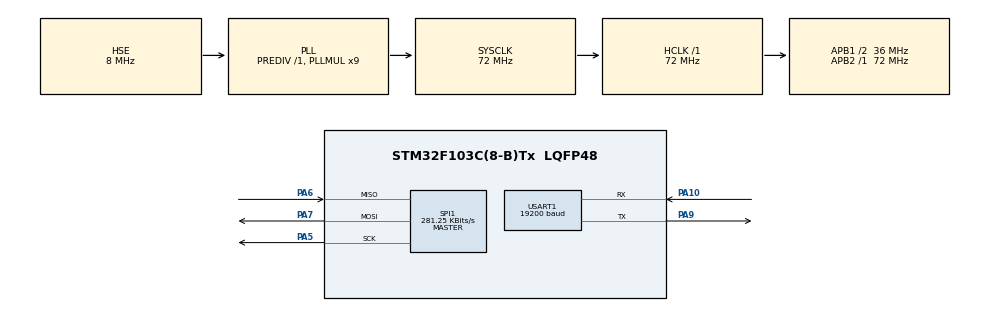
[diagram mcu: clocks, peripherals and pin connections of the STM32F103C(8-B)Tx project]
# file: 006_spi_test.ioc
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Dma.Request0=USART1_TX
Dma.Request1=USART1_RX
Dma.USART1_RX.1.Direction=DMA_PERIPH_TO_MEMORY
Dma.USART1_RX.1.Instance=DMA1_Channel5
Dma.USART1_RX.1.MemDataAlignment=DMA_MDATAALIGN_BYTE
Dma.USART1_RX.1.MemInc=DMA_MINC_ENABLE
Dma.USART1_RX.1.Mode=DMA_NORMAL
Dma.USART1_RX.1.PeriphDataAlignment=DMA_PDATAALIGN_BYTE
Dma.USART1_RX.1.PeriphInc=DMA_PINC_DISABLE
Dma.USART1_RX.1.Priority=DMA_PRIORITY_HIGH
Dma.USART1_TX.0.Direction=DMA_MEMORY_TO_PERIPH
Dma.USART1_TX.0.Instance=DMA1_Channel4
Dma.USART1_TX.0.MemDataAlignment=DMA_MDATAALIGN_BYTE
Dma.USART1_TX.0.MemInc=DMA_MINC_ENABLE
Dma.USART1_TX.0.Mode=DMA_NORMAL
Dma.USART1_TX.0.PeriphDataAlignment=DMA_PDATAALIGN_BYTE
Dma.USART1_TX.0.PeriphInc=DMA_PINC_DISABLE
Dma.USART1_TX.0.Priority=DMA_PRIORITY_VERY_HIGH
Mcu.Family=STM32F1
Mcu.Name=STM32F103C(8-B)Tx
Mcu.Package=LQFP48
NVIC.DMA1_Channel4_IRQn=true\:0\:0\:false\:false\:true\:false\:true\:true
NVIC.DMA1_Channel5_IRQn=true\:0\:0\:false\:false\:true\:false\:true\:true
NVIC.PriorityGroup=NVIC_PRIORITYGROUP_4
NVIC.USART1_IRQn=true\:0\:0\:false\:false\:true\:false\:true\:true
PA10.Mode=Asynchronous
PA10.Signal=USART1_RX
PA5.Mode=Full_Duplex_Master
PA5.Signal=SPI1_SCK
PA6.Mode=Full_Duplex_Master
PA6.Signal=SPI1_MISO
PA7.Mode=Full_Duplex_Master
PA7.Signal=SPI1_MOSI
PA9.Mode=Asynchronous
PA9.Signal=USART1_TX
PC14-OSC32_IN.Mode=LSE-External-Oscillator
PC14-OSC32_IN.Signal=RCC_OSC32_IN
PC15-OSC32_OUT.Mode=LSE-External-Oscillator
PC15-OSC32_OUT.Signal=RCC_OSC32_OUT
PD0-OSC_IN.Mode=HSE-External-Oscillator
PD0-OSC_IN.Signal=RCC_OSC_IN
PD1-OSC_OUT.Mode=HSE-External-Oscillator
PD1-OSC_OUT.Signal=RCC_OSC_OUT
ProjectManager.HeapSize=0x200
ProjectManager.StackSize=0x400
ProjectManager.TargetToolchain=Makefile
RCC.AHBFreq_Value=72000000
RCC.APB1CLKDivider=RCC_HCLK_DIV2
RCC.APB1Freq_Value=36000000
RCC.APB1TimFreq_Value=72000000
RCC.APB2Freq_Value=72000000
RCC.APB2TimFreq_Value=72000000
RCC.HCLKFreq_Value=72000000
RCC.PLLMUL=RCC_PLL_MUL9
RCC.PLLSourceVirtual=RCC_PLLSOURCE_HSE
RCC.SYSCLKFreq_VALUE=72000000
RCC.SYSCLKSource=RCC_SYSCLKSOURCE_PLLCLK
RCC.USBFreq_Value=72000000
SPI1.BaudRatePrescaler=SPI_BAUDRATEPRESCALER_256
SPI1.CalculateBaudRate=281.25 KBits/s
SPI1.Direction=SPI_DIRECTION_2LINES
SPI1.Mode=SPI_MODE_MASTER
SPI1.VirtualType=VM_MASTER
USART1.BaudRate=19200
USART1.VirtualMode=VM_ASYNC
VP_SYS_VS_ND.Mode=No_Debug
board=custom

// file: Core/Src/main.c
/* USER CODE BEGIN Header */
/**
 ******************************************************************************
 * @file           : main.c
 * @brief          : Main program body
 ******************************************************************************
 * @attention
 *
 * Copyright (c) 2024 STMicroelectronics.
 * All rights reserved.
 *
 * This software is licensed under terms that can be found in the LICENSE file
 * in the root directory of this software component.
 * If no LICENSE file comes with this software, it is provided AS-IS.
 *
 ******************************************************************************
 */
/* USER CODE END Header */
#include "main.h"
#include "cmsis_gcc.h"
#include "dma.h"
#include "gpio.h"
#include "spi.h"
#include "stm32f1xx_hal_dma.h"
#include "stm32f1xx_hal_spi.h"
#include "stm32f1xx_hal_uart.h"
#include "usart.h"
#include <stdint.h>

void SystemClock_Config(void);

/* USER CODE BEGIN 0 */
uint8_t dma_tx[64] = {0}, dma_rx[8] = {0}, spi_buffer[8];

/// max len of dma_tx is 64 bytes
void uprintf(char *format, ...) {
  __builtin_va_list args;
  __builtin_va_start(args, format);
  vsprintf((char *)dma_tx, format, args);
  __builtin_va_end(args);

  HAL_UART_Transmit(&huart1, dma_tx, strlen((char *)dma_tx), 1000);
}

void HAL_UART_RxCpltCallback(UART_HandleTypeDef *huart) {
  if (huart->Instance == USART1) {
    uprintf("Sent: %02x %02x %02x %02x %02x %02x %02x %02x\n", dma_rx[0],
            dma_rx[1], dma_rx[2], dma_rx[3], dma_rx[4], dma_rx[5], dma_rx[6],
            dma_rx[7]);

    memset(spi_buffer, 0, sizeof(spi_buffer));
    HAL_SPI_TransmitReceive(&hspi1, dma_rx, spi_buffer, 8, 1000);
    uprintf("Received: %02x %02x %02x %02x %02x %02x %02x %02x\r\n",
            spi_buffer[0], spi_buffer[1], spi_buffer[2], spi_buffer[3],
            spi_buffer[4], spi_buffer[5], spi_buffer[6], spi_buffer[7]);
  }

  HAL_UART_Receive_DMA(huart, dma_rx, sizeof(dma_rx));
}

/* USER CODE END 0 */

int main(void) {

  /* MCU Configuration--------------------------------------------------------*/

  /* Reset of all peripherals, Initializes the Flash interface and the Systick.
   */
  HAL_Init();

  /* Configure the system clock */
  SystemClock_Config();

  /* Initialize all configured peripherals */
  MX_GPIO_Init();
  MX_DMA_Init();
  MX_SPI1_Init();
  MX_USART1_UART_Init();
  /* USER CODE BEGIN 2 */

  uprintf("Hello World!\n");

  HAL_UART_Receive_DMA(&huart1, dma_rx, sizeof(dma_rx));

  /* USER CODE END 2 */

  /* Infinite loop */
  /* USER CODE BEGIN WHILE */
  while (1) {
    __WFI();
    /* USER CODE END WHILE */

  }
}

void SystemClock_Config(void) {
  RCC_OscInitTypeDef RCC_OscInitStruct = {0};
  RCC_ClkInitTypeDef RCC_ClkInitStruct = {0};

  /** Initializes the RCC Oscillators according to the specified parameters
   * in the RCC_OscInitTypeDef structure.
   */
  RCC_OscInitStruct.OscillatorType = RCC_OSCILLATORTYPE_HSE;
  RCC_OscInitStruct.HSEState = RCC_HSE_ON;
  RCC_OscInitStruct.HSEPredivValue = RCC_HSE_PREDIV_DIV1;
  RCC_OscInitStruct.HSIState = RCC_HSI_ON;
  RCC_OscInitStruct.PLL.PLLState = RCC_PLL_ON;
  RCC_OscInitStruct.PLL.PLLSource = RCC_PLLSOURCE_HSE;
  RCC_OscInitStruct.PLL.PLLMUL = RCC_PLL_MUL9;
  if (HAL_RCC_OscConfig(&RCC_OscInitStruct) != HAL_OK) {
    Error_Handler();
  }

  /** Initializes the CPU, AHB and APB buses clocks
   */
  RCC_ClkInitStruct.ClockType = RCC_CLOCKTYPE_HCLK | RCC_CLOCKTYPE_SYSCLK |
                                RCC_CLOCKTYPE_PCLK1 | RCC_CLOCKTYPE_PCLK2;
  RCC_ClkInitStruct.SYSCLKSource = RCC_SYSCLKSOURCE_PLLCLK;
  RCC_ClkInitStruct.AHBCLKDivider = RCC_SYSCLK_DIV1;
  RCC_ClkInitStruct.APB1CLKDivider = RCC_HCLK_DIV2;
  RCC_ClkInitStruct.APB2CLKDivider = RCC_HCLK_DIV1;

  if (HAL_RCC_ClockConfig(&RCC_ClkInitStruct, FLASH_LATENCY_2) != HAL_OK) {
    Error_Handler();
  }
}

void Error_Handler(void) {
  __disable_irq();
  while (1) {
  }
}

#ifdef USE_FULL_ASSERT
/**
 * @brief  Reports the name of the source file and the source line number
 *         where the assert_param error has occurred.
 * @param  file: pointer to the source file name
 * @param  line: assert_param error line source number
 * @retval None
 */
void assert_failed(uint8_t *file, uint32_t line) {
  /* USER CODE BEGIN 6 */
  /* User can add his own implementation to report the file name and line
     number, ex: printf("Wrong parameters value: file %s on line %d\r\n", file,
     line) */
  /* USER CODE END 6 */
}
#endif /* USE_FULL_ASSERT */
